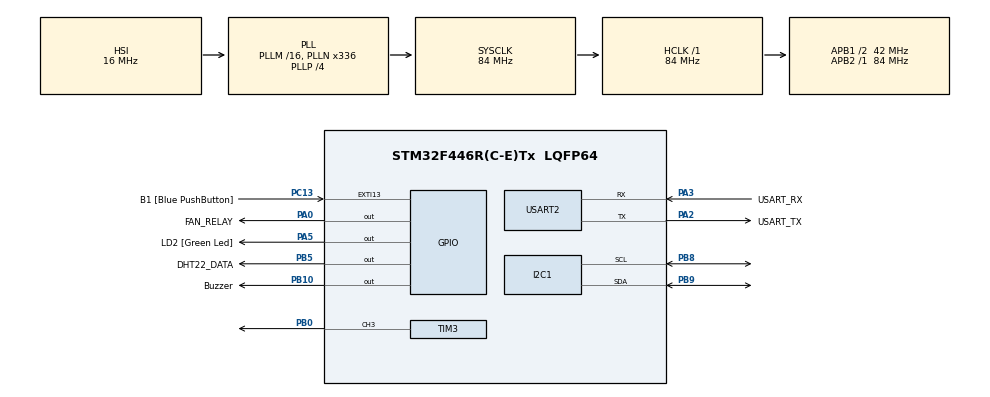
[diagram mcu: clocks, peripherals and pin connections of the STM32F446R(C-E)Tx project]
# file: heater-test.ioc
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FREERTOS.Tasks01=defaultTask,24,128,StartDefaultTask,Default,NULL,Dynamic,NULL,NULL
FREERTOS.configTOTAL_HEAP_SIZE=8192
Mcu.Family=STM32F4
Mcu.Name=STM32F446R(C-E)Tx
Mcu.Package=LQFP64
NVIC.PriorityGroup=NVIC_PRIORITYGROUP_4
NVIC.TIM8_TRG_COM_TIM14_IRQn=true\:15\:0\:false\:false\:true\:false\:false\:true\:true
NVIC.TimeBase=TIM8_TRG_COM_TIM14_IRQn
NVIC.TimeBaseIP=TIM14
NVIC.USART2_IRQn=true\:5\:0\:false\:false\:true\:true\:true\:true\:true
PA0-WKUP.GPIO_Label=FAN_RELAY
PA0-WKUP.Signal=GPIO_Output
PA13.GPIO_Label=TMS
PA13.Mode=Serial_Wire
PA13.Signal=SYS_JTMS-SWDIO
PA14.GPIO_Label=TCK
PA14.Mode=Serial_Wire
PA14.Signal=SYS_JTCK-SWCLK
PA2.GPIO_Label=USART_TX
PA2.Mode=Asynchronous
PA2.Signal=USART2_TX
PA3.GPIO_Label=USART_RX
PA3.Mode=Asynchronous
PA3.Signal=USART2_RX
PA5.GPIO_Label=LD2 [Green Led]
PA5.Signal=GPIO_Output
PB0.Signal=S_TIM3_CH3
PB10.GPIO_Label=Buzzer
PB10.Signal=GPIO_Output
PB3.GPIO_Label=SWO
PB3.Signal=SYS_JTDO-SWO
PB5.GPIO_Label=DHT22_DATA
PB5.Signal=GPIO_Output
PB8.Mode=I2C
PB8.Signal=I2C1_SCL
PB9.Mode=I2C
PB9.Signal=I2C1_SDA
PC13.GPIO_Label=B1 [Blue PushButton]
PC13.GPIO_ModeDefaultEXTI=GPIO_MODE_IT_FALLING
PC13.Signal=GPXTI13
PC14-OSC32_IN.Mode=LSE-External-Oscillator
PC14-OSC32_IN.Signal=RCC_OSC32_IN
PC15-OSC32_OUT.Mode=LSE-External-Oscillator
PC15-OSC32_OUT.Signal=RCC_OSC32_OUT
PH0-OSC_IN.Mode=HSE-External-Oscillator
PH0-OSC_IN.Signal=RCC_OSC_IN
PH1-OSC_OUT.Mode=HSE-External-Oscillator
PH1-OSC_OUT.Signal=RCC_OSC_OUT
ProjectManager.HeapSize=0x200
ProjectManager.StackSize=0x400
ProjectManager.TargetToolchain=STM32CubeIDE
RCC.48MHZClocksFreq_Value=84000000
RCC.AHBFreq_Value=84000000
RCC.APB1CLKDivider=RCC_HCLK_DIV2
RCC.APB1Freq_Value=42000000
RCC.APB1TimFreq_Value=84000000
RCC.APB2Freq_Value=84000000
RCC.APB2TimFreq_Value=84000000
RCC.CortexFreq_Value=84000000
RCC.FLatency-AdvancedSettings=FLASH_LATENCY_2
RCC.HCLKFreq_Value=84000000
RCC.HSE_VALUE=8000000
RCC.HSI_VALUE=16000000
RCC.PLLN=336
RCC.PLLP=RCC_PLLP_DIV4
RCC.SYSCLKFreq_VALUE=84000000
RCC.SYSCLKSource=RCC_SYSCLKSOURCE_PLLCLK
RCC.USBFreq_Value=168000000
RCC.VCOOutputFreq_Value=336000000
SH.S_TIM3_CH3.0=TIM3_CH3,PWM Generation3 CH3
TIM3.Channel-PWM\ Generation3\ CH3=TIM_CHANNEL_3
TIM3.Period=999
TIM3.Prescaler=83
USART2.VirtualMode=VM_ASYNC
VP_FREERTOS_VS_CMSIS_V2.Mode=CMSIS_V2
VP_SYS_VS_tim14.Mode=TIM14
board=NUCLEO-F446RE

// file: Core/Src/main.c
/* USER CODE BEGIN Header */
/**
  ******************************************************************************
  * @file           : main.c
  * @brief          : Main program body
  ******************************************************************************
  * @attention
  *
  * Copyright (c) 2026 STMicroelectronics.
  * All rights reserved.
  *
  * This software is licensed under terms that can be found in the LICENSE file
  * in the root directory of this software component.
  * If no LICENSE file comes with this software, it is provided AS-IS.
  *
  ******************************************************************************
  */
/* USER CODE END Header */
#include "main.h"
#include "cmsis_os.h"

/* USER CODE BEGIN Includes */
#include <stdio.h>
#include <string.h>
#include <stdlib.h>
#include "dht22.h"
#include "task.h"       /* vTaskNotifyGiveFromISR, vTaskSuspendAll */
/* USER CODE END Includes */

/* USER CODE BEGIN PTD */
typedef enum {
    STATE_IDLE = 0,
    STATE_HEATING,
    STATE_WARNING,
    STATE_ALARM
} ChamberState;
/* USER CODE END PTD */

/* USER CODE BEGIN PD */
#define SP_DEFAULT        30.0f
#define WARN_THR          1.0f
#define ALARM_THR         2.0f
#define WARN_DUR_MS       5000U
#define ALARM_DUR_MS      10000U
#define RESET_THR         2.0f
#define SENSOR_FAIL_MAX   3
#define DHT_INTERVAL_MS   2000U
#define DATA_TX_MS        1000U
#define RX_BUF_SIZE       64
#define BUZZER_TOGGLE_MS  1000U
#define SETTLE_BAND_C     1.0f
#define SETTLE_COUNT      5U

/* Fixed-duty heat-up test mode.
 * TEST_FIXED_DUTY_ENABLE=1: PID 대신 히터를 50% duty로 고정.
 * TEST_FIXED_DUTY_ENABLE=0: 기본 PID 제어.
 */
#define TEST_FIXED_DUTY_ENABLE  0
#define TEST_FIXED_DUTY_CMP     500U
#define STOP_HEATER_AT_TARGET   1

/* Relay polarity. Active-Low 릴레이 모듈이면 두 값을 바꿀 것. */
#define FAN_ON            GPIO_PIN_SET
#define FAN_OFF           GPIO_PIN_RESET

/* UART TX 큐 설정 */
#define TX_MSG_SIZE       128U
#define TX_QUEUE_LEN      8U
/* USER CODE END PD */

I2C_HandleTypeDef hi2c1;

TIM_HandleTypeDef htim3;

UART_HandleTypeDef huart2;

/* Definitions for defaultTask */
osThreadId_t defaultTaskHandle;
const osThreadAttr_t defaultTask_attributes = {
  .name = "defaultTask",
  .stack_size = 128 * 4,
  .priority = (osPriority_t) osPriorityNormal,
};
/* USER CODE BEGIN PV */

/* ── 제어 상태 (g_state_mutex로 보호) ─────────────────────────── */
static ChamberState g_state     = STATE_IDLE;
static char       g_alm_id[8] = "NONE";

static float    g_sp       = SP_DEFAULT;
static float    g_kp       = 200.0f;
static float    g_ki       = 2.0f;
static float    g_kd       = 0.0f;
static float    g_integral = 0.0f;
static float    g_prev_err = 0.0f;
static uint32_t g_last_pid_tick = 0;

static float   g_temp        = 0.0f;
static uint8_t g_temp_valid  = 0;
static uint8_t g_sensor_fail = 0;

static uint32_t g_warn_start   = 0;
static uint32_t g_alarm_start  = 0;
static uint8_t  g_in_warn_tmr  = 0;
static uint8_t  g_in_alarm_tmr = 0;

static uint32_t g_heater_cmp = 0;

/* KPI */
static uint8_t  g_run_active     = 0;
static uint32_t g_run_start_tick = 0;
static uint8_t  g_target_reached = 0;
static uint32_t g_reach_ms       = 0;
static float    g_peak_temp_after_reach = 0.0f;
static float    g_overshoot_c           = 0.0f;
static uint8_t  g_settled       = 0;
static uint32_t g_settle_ms     = 0;
static uint8_t  g_in_band_count = 0;

/* ── UART RX 버퍼 (ISR + UartRxTask) ──────────────────────────── */
static uint8_t          g_rx_byte = 0;
static char             g_rx_buf[RX_BUF_SIZE];
static uint8_t          g_rx_idx  = 0;
static volatile uint8_t g_line_ready = 0;
static char             g_line[RX_BUF_SIZE];

/* ── RTOS 오브젝트 ─────────────────────────────────────────────── */
static osMutexId_t        g_state_mutex;   /* 공유 상태 보호 */
static osSemaphoreId_t    g_sensor_sem;    /* SensorTask → ControlTask 동기화 */
static osMessageQueueId_t g_tx_queue;      /* 모든 태스크 → UartTxTask */
static osThreadId_t       g_uart_rx_task_h; /* ISR 태스크 알림 대상 */

/* ── 태스크 속성 ───────────────────────────────────────────────── */
static const osThreadAttr_t k_sensor_attr   = { .name="SensorTask",   .stack_size=512,  .priority=osPriorityNormal };
static const osThreadAttr_t k_control_attr  = { .name="ControlTask",  .stack_size=1536, .priority=osPriorityAboveNormal };
static const osThreadAttr_t k_uart_rx_attr  = { .name="UartRxTask",   .stack_size=768,  .priority=osPriorityAboveNormal };
static const osThreadAttr_t k_uart_tx_attr  = { .name="UartTxTask",   .stack_size=1024, .priority=osPriorityNormal };
static const osThreadAttr_t k_actuator_attr = { .name="ActuatorTask", .stack_size=384,  .priority=osPriorityBelowNormal };
/* USER CODE END PV */

void SystemClock_Config(void);
static void MX_GPIO_Init(void);
static void MX_USART2_UART_Init(void);
static void MX_I2C1_Init(void);
static void MX_TIM3_Init(void);
void StartDefaultTask(void *argument);

/* USER CODE BEGIN PFP */
/* 헬퍼 함수 */
static void        uart_tx(const char *str);
static void        uart_enqueue(const char *str);
static void        heater_off(void);
static void        heater_set(uint32_t cmp);
static uint32_t    pid_update(float temp, float sp, uint32_t dt_ms);
static const char *state_str(void);
static int32_t     to_x10(float v);
static void        build_data_str(char *buf, size_t len);
static void        send_data(void);
static void        handle_cmd(char *line);

/* FreeRTOS 태스크 함수 */
static void SensorTask(void *arg);
static void ControlTask(void *arg);
static void UartRxTask(void *arg);
static void UartTxTask(void *arg);
static void ActuatorTask(void *arg);
/* USER CODE END PFP */

/* USER CODE BEGIN 0 */

/* ── UART RX ISR 콜백 ──────────────────────────────────────────── */
void HAL_UART_RxCpltCallback(UART_HandleTypeDef *huart)
{
    if (huart->Instance != USART2) return;
    char c = (char)g_rx_byte;
    if (c == '\n') {
        if (g_rx_idx > 0 && g_rx_buf[g_rx_idx - 1] == '\r')
            g_rx_buf[g_rx_idx - 1] = '\0';
        else
            g_rx_buf[g_rx_idx] = '\0';
        if (!g_line_ready) {
            memcpy(g_line, g_rx_buf, sizeof(g_line));
            g_line_ready = 1;
            /* vTaskNotifyGiveFromISR: ISR 우선순위에 관계없이 안전 */
            if (g_uart_rx_task_h != NULL) {
                BaseType_t xHigherPriorityTaskWoken = pdFALSE;
                vTaskNotifyGiveFromISR((TaskHandle_t)g_uart_rx_task_h,
                                       &xHigherPriorityTaskWoken);
                portYIELD_FROM_ISR(xHigherPriorityTaskWoken);
            }
        }
        g_rx_idx = 0;
    } else if (g_rx_idx < RX_BUF_SIZE - 1) {
        g_rx_buf[g_rx_idx++] = c;
    }
    HAL_UART_Receive_IT(&huart2, &g_rx_byte, 1);
}

/* ── 직접 UART 송신 (UartTxTask 전용, ISR/task에서 비차단 전송) ── */
static void uart_tx(const char *str)
{
    HAL_UART_Transmit(&huart2, (uint8_t *)str, strlen(str), 200);
}

/* ── TX 큐에 메시지 추가 (어느 태스크에서나 호출 가능) ──────────── */
static void uart_enqueue(const char *str)
{
    if (g_tx_queue == NULL) return;
    char msg[TX_MSG_SIZE];
    strncpy(msg, str, TX_MSG_SIZE - 1);
    msg[TX_MSG_SIZE - 1] = '\0';
    osMessageQueuePut(g_tx_queue, msg, 0, 0);  /* 큐 가득 찬 경우 드롭 */
}

/* ── 히터 제어 (g_state_mutex 보유 상태에서 호출) ──────────────── */
static void heater_off(void)
{
    g_heater_cmp = 0;
    __HAL_TIM_SET_COMPARE(&htim3, TIM_CHANNEL_3, 0);
    HAL_TIM_PWM_Stop(&htim3, TIM_CHANNEL_3);
    g_integral = 0.0f;
    g_prev_err = 0.0f;
}

static void heater_set(uint32_t cmp)
{
    if (cmp > 1000) cmp = 1000;
    g_heater_cmp = cmp;
    if (cmp == 0) { heater_off(); return; }
    __HAL_TIM_SET_COMPARE(&htim3, TIM_CHANNEL_3, cmp);
    HAL_TIM_PWM_Start(&htim3, TIM_CHANNEL_3);
}

/* ── PI 제어기 (g_state_mutex 보유 상태에서 호출) ──────────────── */
static uint32_t pid_update(float temp, float sp, uint32_t dt_ms)
{
    float dt  = (float)dt_ms / 1000.0f;
    float err = sp - temp;

    g_integral += err * dt;
    if (g_integral >  100.0f) g_integral =  100.0f;
    if (g_integral < -100.0f) g_integral = -100.0f;

    float deriv = (dt > 0.0f) ? (err - g_prev_err) / dt : 0.0f;
    g_prev_err  = err;

    float out = g_kp * err + g_ki * g_integral + g_kd * deriv;
    if (out <    0.0f) out =    0.0f;
    if (out > 1000.0f) out = 1000.0f;
    return (uint32_t)out;
}

static const char *state_str(void)
{
    switch (g_state) {
        case STATE_IDLE:    return "IDLE";
        case STATE_HEATING: return "HEATING";
        case STATE_WARNING: return "WARNING";
        case STATE_ALARM:   return "ALARM";
        default:            return "IDLE";
    }
}

static int32_t to_x10(float v)
{
    if (v >= 0.0f) return (int32_t)(v * 10.0f + 0.5f);
    else           return (int32_t)(v * 10.0f - 0.5f);
}

/* ── DATA 프레임 문자열 생성 (g_state_mutex 보유 상태에서 호출) ── */
static void build_data_str(char *buf, size_t len)
{
    const char *alm = (g_state == STATE_WARNING) ? "ALM-01"
                    : (g_state == STATE_ALARM)   ? g_alm_id
                    : "NONE";

    int32_t  temp10    = to_x10(g_temp);
    int32_t  sp10      = to_x10(g_sp);
    uint32_t duty10    = g_heater_cmp;
    uint32_t elapsed10 = g_run_active ? (HAL_GetTick() - g_run_start_tick) / 100U : 0U;
    uint32_t reach10   = g_reach_ms / 100U;
    int32_t  peak10    = to_x10(g_peak_temp_after_reach);
    int32_t  os10      = to_x10(g_overshoot_c);
    uint32_t settle10  = g_settle_ms / 100U;

    snprintf(buf, len,
        "DATA:%ld.%01ld,%ld.%01ld,%s,%s,%lu.%01lu,%lu.%01lu,%u,%lu.%01lu,%ld.%01ld,%ld.%01ld,%u,%lu.%01lu\r\n",
        temp10/10, labs(temp10%10),
        sp10/10,   labs(sp10%10),
        state_str(), alm,
        (unsigned long)(duty10/10U),    (unsigned long)(duty10%10U),
        (unsigned long)(elapsed10/10U), (unsigned long)(elapsed10%10U),
        (unsigned int)g_target_reached,
        (unsigned long)(reach10/10U),   (unsigned long)(reach10%10U),
        peak10/10, labs(peak10%10),
        os10/10,   labs(os10%10),
        (unsigned int)g_settled,
        (unsigned long)(settle10/10U),  (unsigned long)(settle10%10U));
}

/* ── STATUS 응답용 DATA 전송 (g_state_mutex 보유 상태에서 호출) ── */
static void send_data(void)
{
    char buf[TX_MSG_SIZE];
    build_data_str(buf, sizeof(buf));
    uart_enqueue(buf);
}

/* ── EC → FW 명령 처리 (g_state_mutex 보유 상태에서 호출) ──────── */
static void handle_cmd(char *line)
{
    size_t len = strlen(line);
    while (len > 0 && (line[len-1] == '\r' || line[len-1] == '\n'))
        line[--len] = '\0';
    if (len == 0) return;

    if (strcmp(line, "START") == 0) {
        if (g_state != STATE_IDLE) {
            uart_enqueue("NACK:START,NOT_IDLE\r\n");
        } else {
            g_state         = STATE_HEATING;
            g_integral      = 0.0f;
            g_prev_err      = 0.0f;
            g_in_warn_tmr   = 0;
            g_in_alarm_tmr  = 0;
            g_last_pid_tick = HAL_GetTick();
            strncpy(g_alm_id, "NONE", sizeof(g_alm_id));
            g_run_active     = 1;
            g_run_start_tick = g_last_pid_tick;
            g_target_reached = 0;
            g_reach_ms       = 0;
            g_peak_temp_after_reach = 0.0f;
            g_overshoot_c           = 0.0f;
            g_settled       = 0;
            g_settle_ms     = 0;
            g_in_band_count = 0;
#if TEST_FIXED_DUTY_ENABLE
            if (!g_temp_valid || g_temp < g_sp)
                heater_set(TEST_FIXED_DUTY_CMP);
            else
                heater_off();
#endif
            uart_enqueue("ACK:START\r\n");
        }

    } else if (strcmp(line, "STOP") == 0) {
        if (g_state == STATE_WARNING)
            uart_enqueue("EVENT:CLEAR,ALM-01\r\n");
        g_state = STATE_IDLE;
        heater_off();
        HAL_GPIO_WritePin(FAN_RELAY_GPIO_Port, FAN_RELAY_Pin, FAN_OFF);
        g_in_warn_tmr   = 0;
        g_in_alarm_tmr  = 0;
        g_run_active     = 0;
        g_target_reached = 0;
        g_reach_ms       = 0;
        g_peak_temp_after_reach = 0.0f;
        g_overshoot_c           = 0.0f;
        g_settled       = 0;
        g_settle_ms     = 0;
        g_in_band_count = 0;
        uart_enqueue("ACK:STOP\r\n");

    } else if (strcmp(line, "RESET") == 0) {
        if (g_state != STATE_ALARM) {
            uart_enqueue("NACK:RESET,NOT_ALARM\r\n");
        } else if (!g_temp_valid) {
            uart_enqueue("NACK:RESET,NO_SENSOR\r\n");
        } else if (g_temp > (g_sp - RESET_THR)) {
            uart_enqueue("NACK:RESET,TEMP_HIGH\r\n");
        } else {
            strncpy(g_alm_id, "NONE", sizeof(g_alm_id));
            g_state = STATE_IDLE;
            heater_off();
            HAL_GPIO_WritePin(FAN_RELAY_GPIO_Port, FAN_RELAY_Pin, FAN_OFF);
            g_in_warn_tmr   = 0;
            g_in_alarm_tmr  = 0;
            g_run_active     = 0;
            g_target_reached = 0;
            g_reach_ms       = 0;
            g_peak_temp_after_reach = 0.0f;
            g_overshoot_c           = 0.0f;
            g_settled       = 0;
            g_settle_ms     = 0;
            g_in_band_count = 0;
            uart_enqueue("ACK:RESET\r\n");
        }

    } else if (strncmp(line, "SET:", 4) == 0) {
        float new_sp = strtof(line + 4, NULL);
        if (new_sp >= 20.0f && new_sp <= 80.0f) {
            g_sp = new_sp;
            char buf[32];
            int32_t sp10 = to_x10(g_sp);
            snprintf(buf, sizeof(buf), "ACK:SET:%ld.%01ld\r\n", sp10/10, labs(sp10%10));
            uart_enqueue(buf);
        } else {
            uart_enqueue("NACK:SET,OUT_OF_RANGE\r\n");
        }

    } else if (strcmp(line, "STATUS") == 0) {
        send_data();
    }
}

/* USER CODE END 0 */

int main(void)
{

  /* MCU Configuration--------------------------------------------------------*/

  /* Reset of all peripherals, Initializes the Flash interface and the Systick. */
  HAL_Init();

  /* Configure the system clock */
  SystemClock_Config();

  /* Initialize all configured peripherals */
  MX_GPIO_Init();
  MX_USART2_UART_Init();
  MX_I2C1_Init();
  MX_TIM3_Init();
  /* USER CODE BEGIN 2 */
  DHT22_Init();
  HAL_Delay(500);

  heater_off();
  HAL_GPIO_WritePin(FAN_RELAY_GPIO_Port, FAN_RELAY_Pin, FAN_OFF);
  HAL_GPIO_WritePin(Buzzer_GPIO_Port, Buzzer_Pin, GPIO_PIN_RESET);
  HAL_GPIO_WritePin(LD2_GPIO_Port, LD2_Pin, GPIO_PIN_RESET);

  g_last_pid_tick = HAL_GetTick();

  /* UART RX는 UartRxTask 시작 시점에서 활성화 (g_uart_rx_task_h 유효 보장) */
  uart_tx("BOOT:OK\r\n");
  /* USER CODE END 2 */

  /* Init scheduler */
  osKernelInitialize();

  /* USER CODE BEGIN RTOS_MUTEX */
  g_state_mutex = osMutexNew(NULL);
  /* USER CODE END RTOS_MUTEX */

  /* USER CODE BEGIN RTOS_SEMAPHORES */
  g_sensor_sem = osSemaphoreNew(1, 0, NULL);  /* 이진 세마포어, 초기값 0 */
  /* USER CODE END RTOS_SEMAPHORES */

  /* USER CODE BEGIN RTOS_QUEUES */
  g_tx_queue = osMessageQueueNew(TX_QUEUE_LEN, TX_MSG_SIZE, NULL);
  /* USER CODE END RTOS_QUEUES */

  /* Create the thread(s) */
  /* creation of defaultTask */
  defaultTaskHandle = osThreadNew(StartDefaultTask, NULL, &defaultTask_attributes);

  /* USER CODE BEGIN RTOS_THREADS */
  osThreadNew(SensorTask,   NULL, &k_sensor_attr);
  osThreadNew(ControlTask,  NULL, &k_control_attr);
  g_uart_rx_task_h = osThreadNew(UartRxTask, NULL, &k_uart_rx_attr);
  osThreadNew(UartTxTask,   NULL, &k_uart_tx_attr);
  osThreadNew(ActuatorTask, NULL, &k_actuator_attr);
  /* USER CODE END RTOS_THREADS */

  /* Start scheduler */
  osKernelStart();

  /* We should never get here as control is now taken by the scheduler */

  /* Infinite loop */
  while (1)
  {

  }
}

void SystemClock_Config(void)
{
  RCC_OscInitTypeDef RCC_OscInitStruct = {0};
  RCC_ClkInitTypeDef RCC_ClkInitStruct = {0};

  /** Configure the main internal regulator output voltage
  */
  __HAL_RCC_PWR_CLK_ENABLE();
  __HAL_PWR_VOLTAGESCALING_CONFIG(PWR_REGULATOR_VOLTAGE_SCALE3);

  /** Initializes the RCC Oscillators according to the specified parameters
  * in the RCC_OscInitTypeDef structure.
  */
  RCC_OscInitStruct.OscillatorType = RCC_OSCILLATORTYPE_HSI;
  RCC_OscInitStruct.HSIState = RCC_HSI_ON;
  RCC_OscInitStruct.HSICalibrationValue = RCC_HSICALIBRATION_DEFAULT;
  RCC_OscInitStruct.PLL.PLLState = RCC_PLL_ON;
  RCC_OscInitStruct.PLL.PLLSource = RCC_PLLSOURCE_HSI;
  RCC_OscInitStruct.PLL.PLLM = 16;
  RCC_OscInitStruct.PLL.PLLN = 336;
  RCC_OscInitStruct.PLL.PLLP = RCC_PLLP_DIV4;
  RCC_OscInitStruct.PLL.PLLQ = 2;
  RCC_OscInitStruct.PLL.PLLR = 2;
  if (HAL_RCC_OscConfig(&RCC_OscInitStruct) != HAL_OK)
  {
    Error_Handler();
  }

  /** Initializes the CPU, AHB and APB buses clocks
  */
  RCC_ClkInitStruct.ClockType = RCC_CLOCKTYPE_HCLK|RCC_CLOCKTYPE_SYSCLK
                              |RCC_CLOCKTYPE_PCLK1|RCC_CLOCKTYPE_PCLK2;
  RCC_ClkInitStruct.SYSCLKSource = RCC_SYSCLKSOURCE_PLLCLK;
  RCC_ClkInitStruct.AHBCLKDivider = RCC_SYSCLK_DIV1;
  RCC_ClkInitStruct.APB1CLKDivider = RCC_HCLK_DIV2;
  RCC_ClkInitStruct.APB2CLKDivider = RCC_HCLK_DIV1;

  if (HAL_RCC_ClockConfig(&RCC_ClkInitStruct, FLASH_LATENCY_2) != HAL_OK)
  {
    Error_Handler();
  }
}

static void MX_I2C1_Init(void)
{

  hi2c1.Instance = I2C1;
  hi2c1.Init.ClockSpeed = 100000;
  hi2c1.Init.DutyCycle = I2C_DUTYCYCLE_2;
  hi2c1.Init.OwnAddress1 = 0;
  hi2c1.Init.AddressingMode = I2C_ADDRESSINGMODE_7BIT;
  hi2c1.Init.DualAddressMode = I2C_DUALADDRESS_DISABLE;
  hi2c1.Init.OwnAddress2 = 0;
  hi2c1.Init.GeneralCallMode = I2C_GENERALCALL_DISABLE;
  hi2c1.Init.NoStretchMode = I2C_NOSTRETCH_DISABLE;
  if (HAL_I2C_Init(&hi2c1) != HAL_OK)
  {
    Error_Handler();
  }

}

static void MX_TIM3_Init(void)
{

  TIM_MasterConfigTypeDef sMasterConfig = {0};
  TIM_OC_InitTypeDef sConfigOC = {0};

  htim3.Instance = TIM3;
  htim3.Init.Prescaler = 83;
  htim3.Init.CounterMode = TIM_COUNTERMODE_UP;
  htim3.Init.Period = 999;
  htim3.Init.ClockDivision = TIM_CLOCKDIVISION_DIV1;
  htim3.Init.AutoReloadPreload = TIM_AUTORELOAD_PRELOAD_DISABLE;
  if (HAL_TIM_PWM_Init(&htim3) != HAL_OK)
  {
    Error_Handler();
  }
  sMasterConfig.MasterOutputTrigger = TIM_TRGO_RESET;
  sMasterConfig.MasterSlaveMode = TIM_MASTERSLAVEMODE_DISABLE;
  if (HAL_TIMEx_MasterConfigSynchronization(&htim3, &sMasterConfig) != HAL_OK)
  {
    Error_Handler();
  }
  sConfigOC.OCMode = TIM_OCMODE_PWM1;
  sConfigOC.Pulse = 0;
  sConfigOC.OCPolarity = TIM_OCPOLARITY_HIGH;
  sConfigOC.OCFastMode = TIM_OCFAST_DISABLE;
  if (HAL_TIM_PWM_ConfigChannel(&htim3, &sConfigOC, TIM_CHANNEL_3) != HAL_OK)
  {
    Error_Handler();
  }
  HAL_TIM_MspPostInit(&htim3);

}

static void MX_USART2_UART_Init(void)
{

  huart2.Instance = USART2;
  huart2.Init.BaudRate = 115200;
  huart2.Init.WordLength = UART_WORDLENGTH_8B;
  huart2.Init.StopBits = UART_STOPBITS_1;
  huart2.Init.Parity = UART_PARITY_NONE;
  huart2.Init.Mode = UART_MODE_TX_RX;
  huart2.Init.HwFlowCtl = UART_HWCONTROL_NONE;
  huart2.Init.OverSampling = UART_OVERSAMPLING_16;
  if (HAL_UART_Init(&huart2) != HAL_OK)
  {
    Error_Handler();
  }

}

static void MX_GPIO_Init(void)
{
  GPIO_InitTypeDef GPIO_InitStruct = {0};

  /* GPIO Ports Clock Enable */
  __HAL_RCC_GPIOC_CLK_ENABLE();
  __HAL_RCC_GPIOH_CLK_ENABLE();
  __HAL_RCC_GPIOA_CLK_ENABLE();
  __HAL_RCC_GPIOB_CLK_ENABLE();

  /*Configure GPIO pin Output Level */
  HAL_GPIO_WritePin(GPIOA, FAN_RELAY_Pin|LD2_Pin, GPIO_PIN_RESET);

  /*Configure GPIO pin Output Level */
  HAL_GPIO_WritePin(GPIOB, Buzzer_Pin|DHT22_DATA_Pin, GPIO_PIN_RESET);

  /*Configure GPIO pin : B1_Pin */
  GPIO_InitStruct.Pin = B1_Pin;
  GPIO_InitStruct.Mode = GPIO_MODE_IT_FALLING;
  GPIO_InitStruct.Pull = GPIO_NOPULL;
  HAL_GPIO_Init(B1_GPIO_Port, &GPIO_InitStruct);

  /*Configure GPIO pins : FAN_RELAY_Pin LD2_Pin */
  GPIO_InitStruct.Pin = FAN_RELAY_Pin|LD2_Pin;
  GPIO_InitStruct.Mode = GPIO_MODE_OUTPUT_PP;
  GPIO_InitStruct.Pull = GPIO_NOPULL;
  GPIO_InitStruct.Speed = GPIO_SPEED_FREQ_LOW;
  HAL_GPIO_Init(GPIOA, &GPIO_InitStruct);

  /*Configure GPIO pins : Buzzer_Pin DHT22_DATA_Pin */
  GPIO_InitStruct.Pin = Buzzer_Pin|DHT22_DATA_Pin;
  GPIO_InitStruct.Mode = GPIO_MODE_OUTPUT_PP;
  GPIO_InitStruct.Pull = GPIO_NOPULL;
  GPIO_InitStruct.Speed = GPIO_SPEED_FREQ_LOW;
  HAL_GPIO_Init(GPIOB, &GPIO_InitStruct);

}

/* USER CODE BEGIN 4 */

/* ════════════════════════════════════════════════════════════════
 * SensorTask  (Normal priority, 2s 주기)
 * DHT22 읽기 → 공유 상태 갱신 → ControlTask 신호
 * ════════════════════════════════════════════════════════════════ */
static void SensorTask(void *arg)
{
    (void)arg;
    for (;;) {
        osDelay(DHT_INTERVAL_MS);

        /* vTaskSuspendAll: 다른 태스크의 선점을 막아 DHT22 타이밍 보호.
         * 인터럽트는 계속 동작하므로 HAL_Delay(내부 1ms)도 정상 작동. */
        DHT22_Data dht = {0};
        vTaskSuspendAll();
        DHT22_Status status = DHT22_Read(&dht);
        xTaskResumeAll();

        if (status == DHT22_OK) {
            osMutexAcquire(g_state_mutex, osWaitForever);
            g_temp        = dht.temperature;
            g_temp_valid  = 1;
            g_sensor_fail = 0;
            osMutexRelease(g_state_mutex);
        } else {
            osMutexAcquire(g_state_mutex, osWaitForever);
            g_sensor_fail++;
            uint8_t    fail = g_sensor_fail;
            ChamberState st   = g_state;
            osMutexRelease(g_state_mutex);

            if (fail >= SENSOR_FAIL_MAX && st != STATE_ALARM) {
                osMutexAcquire(g_state_mutex, osWaitForever);
                if (g_state != STATE_ALARM) {   /* 재진입 방지 */
                    g_temp_valid   = 0;
                    g_in_warn_tmr  = 0;
                    g_in_alarm_tmr = 0;
                    g_state        = STATE_ALARM;
                    strncpy(g_alm_id, "ALM-03", sizeof(g_alm_id) - 1);
                    g_alm_id[sizeof(g_alm_id) - 1] = '\0';
                    heater_off();
                    HAL_GPIO_WritePin(FAN_RELAY_GPIO_Port, FAN_RELAY_Pin, FAN_ON);
                }
                osMutexRelease(g_state_mutex);
                uart_enqueue("EVENT:ALARM,ALM-03\r\n");
            }
        }

        osSemaphoreRelease(g_sensor_sem);  /* ControlTask 깨우기 */
    }
}

/* ════════════════════════════════════════════════════════════════
 * ControlTask  (AboveNormal priority, SensorTask 신호 대기)
 * PI 제어 + KPI 추적 + 알람 판정
 * ════════════════════════════════════════════════════════════════ */
static void ControlTask(void *arg)
{
    (void)arg;
    for (;;) {
        osSemaphoreAcquire(g_sensor_sem, osWaitForever);
        uint32_t now = HAL_GetTick();

        osMutexAcquire(g_state_mutex, osWaitForever);

        if (g_state != STATE_HEATING && g_state != STATE_WARNING) {
            osMutexRelease(g_state_mutex);
            continue;
        }

        /* ── PI 히터 출력 ──────────────────────────────────────── */
        uint32_t dt = now - g_last_pid_tick;
        if (dt == 0) dt = DHT_INTERVAL_MS;
        g_last_pid_tick = now;

#if TEST_FIXED_DUTY_ENABLE
#if STOP_HEATER_AT_TARGET
        if (g_target_reached || g_temp >= g_sp) heater_off();
        else heater_set(TEST_FIXED_DUTY_CMP);
#else
        if (g_temp < g_sp) heater_set(TEST_FIXED_DUTY_CMP);
        else heater_off();
#endif
#else
        heater_set(pid_update(g_temp, g_sp, dt));
#endif

        /* ── KPI: 목표 온도 최초 도달 ─────────────────────────── */
        if (g_run_active && !g_target_reached && g_temp_valid && g_temp >= g_sp) {
            g_target_reached        = 1;
            g_reach_ms              = now - g_run_start_tick;
            g_peak_temp_after_reach = g_temp;
            g_overshoot_c           = (g_temp > g_sp) ? (g_temp - g_sp) : 0.0f;

            char rbuf[96];
            int32_t t10 = to_x10(g_temp), s10 = to_x10(g_sp), os10 = to_x10(g_overshoot_c);
            snprintf(rbuf, sizeof(rbuf),
                "EVENT:TARGET_REACHED,%lu.%01lu,%ld.%01ld,%ld.%01ld,%ld.%01ld\r\n",
                (unsigned long)(g_reach_ms/1000U),
                (unsigned long)((g_reach_ms%1000U)/100U),
                t10/10, labs(t10%10), s10/10, labs(s10%10), os10/10, labs(os10%10));
            uart_enqueue(rbuf);
        }

        /* ── KPI: 오버슈트 갱신 ───────────────────────────────── */
        if (g_run_active && g_target_reached && g_temp_valid) {
            if (g_temp > g_peak_temp_after_reach) g_peak_temp_after_reach = g_temp;
            g_overshoot_c = g_peak_temp_after_reach - g_sp;
            if (g_overshoot_c < 0.0f) g_overshoot_c = 0.0f;
        }

        /* ── KPI: 안정화 시간 ─────────────────────────────────── */
        if (g_run_active && !g_settled && g_temp_valid) {
            float err_abs = g_temp - g_sp;
            if (err_abs < 0.0f) err_abs = -err_abs;
            if (err_abs <= SETTLE_BAND_C) {
                if (++g_in_band_count >= SETTLE_COUNT) {
                    g_settled   = 1;
                    g_settle_ms = now - g_run_start_tick;
                    char sbuf[48];
                    snprintf(sbuf, sizeof(sbuf), "EVENT:SETTLED,%lu.%01lu\r\n",
                        (unsigned long)(g_settle_ms/1000U),
                        (unsigned long)((g_settle_ms%1000U)/100U));
                    uart_enqueue(sbuf);
                }
            } else {
                g_in_band_count = 0;
            }
        }

        /* ── 알람 판정 ────────────────────────────────────────── */
        if (g_temp_valid) {
            float over = g_temp - g_sp;

            if (over >= ALARM_THR) {
                if (!g_in_warn_tmr)  { g_in_warn_tmr  = 1; g_warn_start  = now; }
                if (!g_in_alarm_tmr) { g_in_alarm_tmr = 1; g_alarm_start = now; }

                if (g_state == STATE_HEATING && (now - g_warn_start) >= WARN_DUR_MS) {
                    g_state    = STATE_WARNING;
                    g_integral = 0.0f;
                    HAL_GPIO_WritePin(FAN_RELAY_GPIO_Port, FAN_RELAY_Pin, FAN_ON);
                    uart_enqueue("EVENT:WARN,ALM-01\r\n");
                }
                if ((now - g_alarm_start) >= ALARM_DUR_MS) {
                    if (g_state == STATE_WARNING)
                        uart_enqueue("EVENT:CLEAR,ALM-01\r\n");
                    /* ALARM 진입 */
                    g_in_warn_tmr  = 0;
                    g_in_alarm_tmr = 0;
                    g_state        = STATE_ALARM;
                    strncpy(g_alm_id, "ALM-02", sizeof(g_alm_id) - 1);
                    g_alm_id[sizeof(g_alm_id) - 1] = '\0';
                    heater_off();
                    HAL_GPIO_WritePin(FAN_RELAY_GPIO_Port, FAN_RELAY_Pin, FAN_ON);
                    osMutexRelease(g_state_mutex);
                    uart_enqueue("EVENT:ALARM,ALM-02\r\n");
                    continue;  /* mutex 이미 해제 */
                }

            } else if (over >= WARN_THR) {
                g_in_alarm_tmr = 0;
                if (!g_in_warn_tmr) { g_in_warn_tmr = 1; g_warn_start = now; }
                if (g_state == STATE_HEATING && (now - g_warn_start) >= WARN_DUR_MS) {
                    g_state    = STATE_WARNING;
                    g_integral = 0.0f;
                    HAL_GPIO_WritePin(FAN_RELAY_GPIO_Port, FAN_RELAY_Pin, FAN_ON);
                    uart_enqueue("EVENT:WARN,ALM-01\r\n");
                }

            } else {
                g_in_warn_tmr  = 0;
                g_in_alarm_tmr = 0;
                if (g_state == STATE_WARNING) {
                    g_state    = STATE_HEATING;
                    g_integral = 0.0f;
                    HAL_GPIO_WritePin(FAN_RELAY_GPIO_Port, FAN_RELAY_Pin, FAN_OFF);
                    uart_enqueue("EVENT:CLEAR,ALM-01\r\n");
                }
            }
        }

        osMutexRelease(g_state_mutex);
    }
}

/* ════════════════════════════════════════════════════════════════
 * UartRxTask  (AboveNormal priority)
 * ISR 태스크 알림 대기 → 명령 파싱 → 상태 반영
 * ════════════════════════════════════════════════════════════════ */
static void UartRxTask(void *arg)
{
    (void)arg;
    /* g_uart_rx_task_h 설정 완료 후 수신 시작 */
    HAL_UART_Receive_IT(&huart2, &g_rx_byte, 1);

    for (;;) {
        /* 100ms 타임아웃: 스케줄러 시작 전 수신된 라인도 처리 */
        ulTaskNotifyTake(pdTRUE, pdMS_TO_TICKS(100));

        if (!g_line_ready) continue;

        char cmd[RX_BUF_SIZE];
        taskENTER_CRITICAL();
        memcpy(cmd, g_line, sizeof(cmd));
        g_line_ready = 0;
        taskEXIT_CRITICAL();

        osMutexAcquire(g_state_mutex, osWaitForever);
        handle_cmd(cmd);
        osMutexRelease(g_state_mutex);
    }
}

/* ════════════════════════════════════════════════════════════════
 * UartTxTask  (Normal priority)
 * TX 큐 수신 → 즉시 전송 / 1s 타임아웃 → 주기 DATA 전송
 * ════════════════════════════════════════════════════════════════ */
static void UartTxTask(void *arg)
{
    (void)arg;
    char msg[TX_MSG_SIZE];

    for (;;) {
        if (osMessageQueueGet(g_tx_queue, msg, NULL, DATA_TX_MS) == osOK) {
            /* 이벤트/응답 메시지 즉시 전송 */
            uart_tx(msg);
        } else {
            /* 1s 타임아웃: 주기 DATA 프레임 생성 후 직접 전송 */
            osMutexAcquire(g_state_mutex, osWaitForever);
            build_data_str(msg, sizeof(msg));
            osMutexRelease(g_state_mutex);
            uart_tx(msg);
        }
    }
}

/* ════════════════════════════════════════════════════════════════
 * ActuatorTask  (BelowNormal priority, 50ms 주기)
 * 상태에 따라 부저 패턴 · LED 패턴 구동
 * ════════════════════════════════════════════════════════════════ */
static void ActuatorTask(void *arg)
{
    (void)arg;
    uint32_t buzz_tick = 0, led_tick = 0;
    uint8_t  buzz_on   = 0, led_on  = 0;

    for (;;) {
        osDelay(50);
        uint32_t now = HAL_GetTick();

        osMutexAcquire(g_state_mutex, osWaitForever);
        ChamberState st = g_state;
        osMutexRelease(g_state_mutex);

        /* ── 부저: ALARM=연속, WARNING=1s 토글, 그 외=OFF ──────── */
        if (st == STATE_ALARM) {
            HAL_GPIO_WritePin(Buzzer_GPIO_Port, Buzzer_Pin, GPIO_PIN_SET);
            buzz_on   = 1;
            buzz_tick = now;
        } else if (st == STATE_WARNING) {
            if ((now - buzz_tick) >= BUZZER_TOGGLE_MS) {
                buzz_tick = now;
                buzz_on   = !buzz_on;
                HAL_GPIO_WritePin(Buzzer_GPIO_Port, Buzzer_Pin,
                    buzz_on ? GPIO_PIN_SET : GPIO_PIN_RESET);
            }
        } else {
            HAL_GPIO_WritePin(Buzzer_GPIO_Port, Buzzer_Pin, GPIO_PIN_RESET);
            buzz_on = 0;
        }

        /* ── LED: IDLE=OFF, HEATING=ON, WARNING=500ms, ALARM=200ms */
        if (st == STATE_IDLE) {
            HAL_GPIO_WritePin(LD2_GPIO_Port, LD2_Pin, GPIO_PIN_RESET);
            led_on = 0;
        } else if (st == STATE_HEATING) {
            HAL_GPIO_WritePin(LD2_GPIO_Port, LD2_Pin, GPIO_PIN_SET);
            led_on = 1;
        } else {
            uint32_t blink = (st == STATE_ALARM) ? 200U : 500U;
            if ((now - led_tick) >= blink) {
                led_tick = now;
                led_on   = !led_on;
                HAL_GPIO_WritePin(LD2_GPIO_Port, LD2_Pin,
                    led_on ? GPIO_PIN_SET : GPIO_PIN_RESET);
            }
        }
    }
}

/* USER CODE END 4 */

void StartDefaultTask(void *argument)
{
  /* USER CODE BEGIN 5 */
  osThreadExit();  /* 스택 반환 */
  /* USER CODE END 5 */
}

void HAL_TIM_PeriodElapsedCallback(TIM_HandleTypeDef *htim)
{
  if (htim->Instance == TIM14)
  {
    HAL_IncTick();
  }
}

void Error_Handler(void)
{
  __disable_irq();
  while (1)
  {
  }
}
